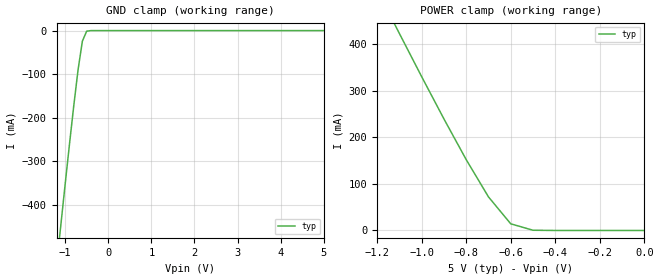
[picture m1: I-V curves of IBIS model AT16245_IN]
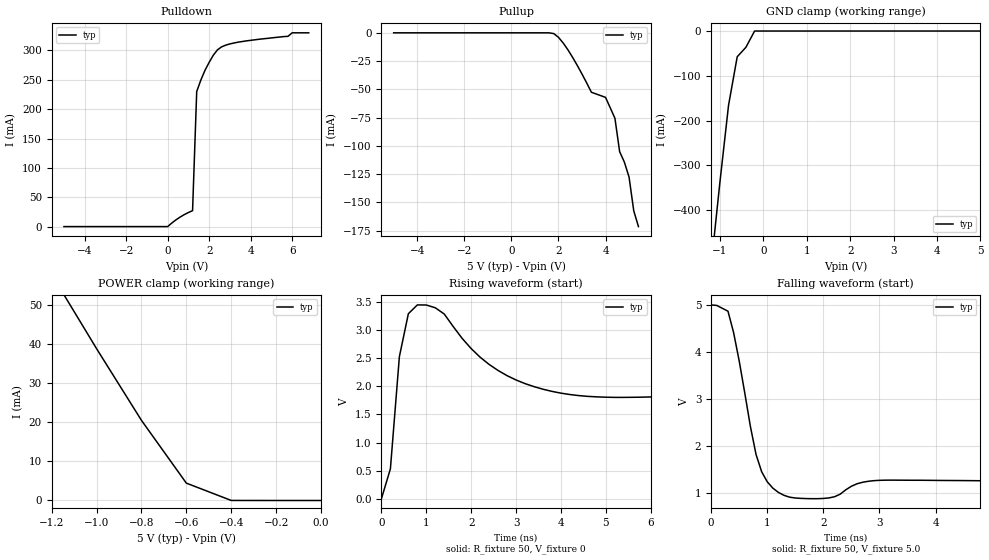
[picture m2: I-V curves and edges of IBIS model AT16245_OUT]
| IBIS file AT16245 Tri_State Register created by
| Symmetry Design Systems, Inc.
| (415)949-9600
[IBIS ver]   2.1 |this is a comment
[File name]   at16245.ibs
[File Rev]   1.0
[Date]   Jan 15, 1996
[Source]   Atmel spice models
[Notes]   This ibis package is made for Atmel AT16245.
   It includes following models:
   AT16245_IN
   AT16245_OUT
[Disclaimer]   This information is for modeling purpose only.
[Copyright]   Copyright 1996 by Atmel
|   Component AT16245
[Component]   AT16245
[Manufacturer]   ATMEL
[Package]
|variable   typ   min   max
R_pkg   200.00m   NA   NA
L_pkg   7.0nH   NA   NA
C_pkg   1.5pF   NA   NA
[Pin]  signal_name   model_name   R_pin   L_pin   C_pin
1   1DIR   AT16245_IN
2   1B1   AT16245_OUT
3   1B2   AT16245_OUT
4   GND   GND
5   1B3   AT16245_OUT
6   1B4   AT16245_OUT
7   VCC   POWER
8   1B5   AT16245_OUT
9   1B6   AT16245_OUT
10   GND   GND
11   1B7   AT16245_OUT
12   1B8   AT16245_OUT
13   2B1   AT16245_OUT
14   2B2   AT16245_OUT
15   GND   GND
16   2B3   AT16245_OUT
17   2B4   AT16245_OUT
18   VCC   POWER
19   2B5   AT16245_OUT
20   2B6   AT16245_OUT
21   GND   GND
22   2B7   AT16245_OUT
23   2B8   AT16245_OUT
24   2DIR   AT16245_IN
25   2OE   AT16245_IN
26   2A8   AT16245_OUT
27   2A7   AT16245_OUT
28   GND   GND
29   2A6   AT16245_OUT
30   2A5   AT16245_OUT
31   VCC   POWER
32   2A4   AT16245_OUT
33   2A3   AT16245_OUT
34   GND   GND
35   2A2   AT16245_OUT
36   2A1   AT16245_OUT
37   1A8   AT16245_OUT
38   1A7   AT16245_OUT
39   GND   GND
40   1A6   AT16245_OUT
41   1A5   AT16245_OUT
42   VCC   POWER
43   1A4   AT16245_OUT
44   1A3   AT16245_OUT
45   GND   GND
46   1A2   AT16245_OUT
47   1A1   AT16245_OUT
48   1OE   AT16245_IN
| Models and submodels in the file (2): AT16245_IN (Input), AT16245_OUT (3-state)
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|   Model AT16245_IN
[Model]   AT16245_IN
Model_type  Input
Polarity   Non-Inverting
Vinl = 0.8V
Vinh = 2.0V
|Variable   typ   min   max
C_comp   3.4p   2.0p   6.0p
|Variable   typ   min   max
[Voltage Range]   5.0   4.75   5.25
|Variable   typ   min   max
[Temperature Range]  25   0   85
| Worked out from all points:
|   GND clamp passes 1 mA (typ) near -0.48 V on its own axis
|   POWER clamp passes 1 mA (typ) near -0.50 V on its own axis
[GND Clamp]
|Volts   I(typ)   I(min)   I(max)
-5V       -4.269A    NA         NA
-1.2V     -541.2mA   NA         NA
-1.1V     -446.7mA   NA         NA
-900mV    -261.4mA   NA         NA
-800mV    -172.6mA   NA         NA
-700mV    -89.83mA   NA         NA
-600mV    -24.19mA   NA         NA
-500mV    -1.292mA   NA         NA
5V        0A         NA         NA
[POWER Clamp]
|Volts   I(typ)   I(min)   I(max)
-5V       4.217A     NA         NA
-1.2V     515.9mA    NA         NA
-1.1V     422.2mA    NA         NA
-900mV    239.1mA    NA         NA
-800mV    151.8mA    NA         NA
-700mV    71.94mA    NA         NA
-600mV    14.26mA    NA         NA
-500mV    502uA      NA         NA
0V        0A         NA         NA
|   Model AT16245_OUT
[Model]   AT16245_OUT
Model_type  3-state
Polarity   Non-Inverting
Vmeas = 1.6
Rref  = 50.00
Vref  = 0
|Variable   typ   min   max
C_comp   3.4p   2.0p   6.0p
|Variable   typ   min   max
[Voltage Range]   5.0   4.75   5.25
[GND Clamp Reference]  0.0   0.0   0.0
|Variable   typ   min   max
[Temperature Range]  25   0   85
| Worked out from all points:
|   slope of the pulldown table from 0 to 0.75 V, typ, clamps not added: 38.8 ohm
|   GND clamp passes 1 mA (typ) near -0.21 V on its own axis
|   POWER clamp passes 1 mA (typ) near -0.44 V on its own axis
|   rising waveform, R_fixture 50, V_fixture 0: 20-80 % time 156ps typ, NA min, NA max; typ from 0.002 V to 1.94 V
|   falling waveform, R_fixture 50, V_fixture 5.0: 20-80 % time 344ps typ, NA min, NA max; typ from 5 V to 1.25 V
[Pulldown]
|Volts   I(typ)   I(min)   I(max)
-5V       0A         NA         NA
0V        0A         NA         NA
600mV     16.21mA    NA         NA
1.2V      27.11mA    NA         NA
1.4V      230.1mA    NA         NA
1.8V      266.2mA    NA         NA
2.2V      291.9mA    NA         NA
2.6V      306.1mA    NA         NA
3V        311.1mA    NA         NA
5.8V      324mA      NA         NA
6V        330mA      NA         NA
6.8V      330mA      NA         NA
[Pullup]
|Volts   I(typ)   I(min)   I(max)
-5V       0A         NA         NA
1.6V      -17.87uA   NA         NA
2V        -3.947mA   NA         NA
2.6V      -21.63mA   NA         NA
3.4V      -52.57mA   NA         NA
4V        -57.1mA    NA         NA
4.4V      -75.59mA   NA         NA
4.6V      -105.1mA   NA         NA
4.8V      -114.3mA   NA         NA
5V        -127.6mA   NA         NA
5.2V      -157.5mA   NA         NA
5.4V      -171.4mA   NA         NA
[GND Clamp]
|Volts   I(typ)   I(min)   I(max)
-5V       -4.227A    NA         NA
-1.2V     -523.9mA   NA         NA
-1V       -339.1mA   NA         NA
-800mV    -166.1mA   NA         NA
-600mV    -57.46mA   NA         NA
-400mV    -36.37mA   NA         NA
-200mV    -11.29uA   NA         NA
5V        0A         NA         NA
[POWER Clamp]
|Volts   I(typ)   I(min)   I(max)
-5V       432.2mA    NA         NA
-1.2V     57.78mA    NA         NA
-1V       38.82mA    NA         NA
-800mV    20.49mA    NA         NA
-600mV    4.438mA    NA         NA
-400mV    10.71uA    NA         NA
0V        0A         NA         NA
[Ramp]
|Variable   typ   min   max
dV/dt_r  1.56/0.20n   NA   NA
dV/dt_f  1.81/0.40n   NA   NA
[Rising Waveform]
R_fixture = 50
V_fixture = 0
C_fixture = 0.0p
|Time   V(typ)   V(min)   V(max)
0s        2.3mV      NA         NA
200ps     533mV      NA         NA
400ps     2.526V     NA         NA
600ps     3.288V     NA         NA
800ps     3.445V     NA         NA
1.4ns     3.283V     NA         NA
2ns       2.668V     NA         NA
2.8ns     2.188V     NA         NA
4.4ns     1.833V     NA         NA
20ns      1.942V     NA         NA
[Falling Waveform]
R_fixture = 50
C_fixture = 0.0p
V_fixture = 5.0
|Time   V(typ)   V(min)   V(max)
0s        5V         NA         NA
300ps     4.866V     NA         NA
500ps     3.81V      NA         NA
800ps     1.827V     NA         NA
900ps     1.46V      NA         NA
1.1ns     1.111V     NA         NA
1.4ns     919.9mV    NA         NA
2.1ns     904.1mV    NA         NA
3ns       1.278V     NA         NA
10ns      1.245V     NA         NA
